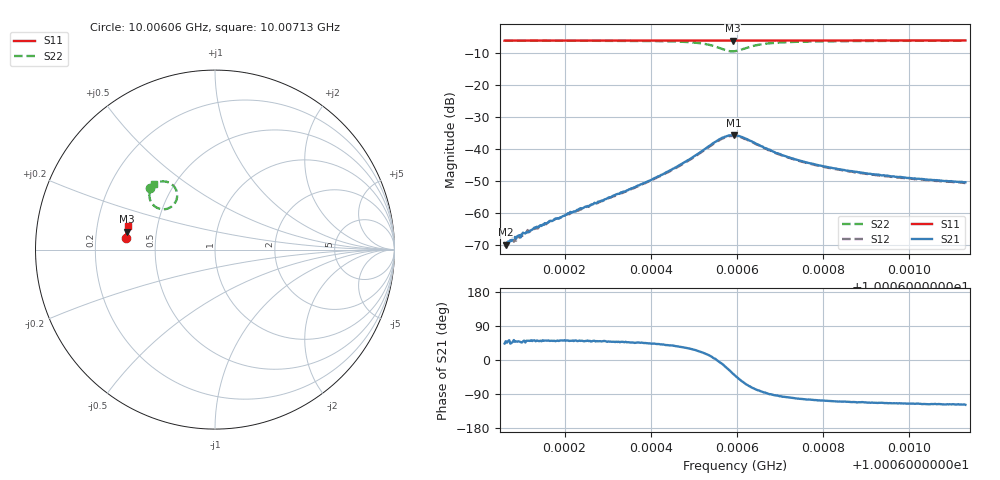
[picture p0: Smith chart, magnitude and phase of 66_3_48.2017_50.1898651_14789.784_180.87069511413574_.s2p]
#  HZ  S  RI  R  50.00
! Rohde & Schwarz Vector Network Analyzer
! Rohde-Schwarz,ZNB20-2Port,1311601062101988,3.16
! Created: UTC 3/20/2024, 11:38:59 AM
! freq[Hz]  re:S11  im:S11  re:S21  im:S21  re:S12  im:S12  re:S22  im:S22
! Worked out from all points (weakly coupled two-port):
!   401 points, 10.00606 GHz to 10.00713 GHz, reference 50 ohm
!   highest |S21| = -35.59 dB at 10.00659 GHz (marker M1); lowest = -69.9 dB at 10.00606 GHz (marker M2)
!   lowest |S11| = -6.0 dB at 10.00659 GHz (marker M3), VSWR 3.01, Z = 16.8 + j4.47 ohm
!   |S11| at or under -10 dB: nowhere
!   |S22| runs from -9.4 to -6.0 dB; largest |S21 - S12| = 0.0011
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1.0006061e10  -0.4973 0.0663  0.000245 0.000232  0.000222 0.000217  -0.3633 0.342
1.0006063e10  -0.4973 0.0665  0.000208 0.000245  0.000196 0.000234  -0.363 0.3421
1.0006085e10  -0.4971 0.0679  0.000286 0.000316  0.000219 0.000322  -0.3615 0.3437
1.0006117e10  -0.4969 0.07  0.000324 0.000398  0.000297 0.000407  -0.3593 0.346
1.0006133e10  -0.4968 0.0711  0.000384 0.000449  0.000324 0.000475  -0.3581 0.3473
1.000624e10  -0.4958 0.078  0.000747 0.000925  0.000703 0.000933  -0.3489 0.3559
1.0006344e10  -0.495 0.0849  0.00156 0.00165  0.00142 0.00171  -0.3354 0.3662
1.0006419e10  -0.4941 0.0897  0.00282 0.00255  0.00268 0.00262  -0.3176 0.375
1.0006465e10  -0.4935 0.0928  0.00449 0.0032  0.00423 0.0033  -0.2987 0.3796
1.0006527e10  -0.4922 0.0969  0.00966 0.00301  0.00926 0.00336  -0.2475 0.3685
1.0006561e10  -0.4915 0.0987  0.0144 -0.00154  0.014 -0.00065  -0.2119 0.3172
1.0006577e10  -0.4911 0.0993  0.015 -0.00586  0.0149 -0.00487  -0.2152 0.2757
1.0006591e10  -0.4909 0.0997  0.0135 -0.00965  0.0136 -0.00858  -0.2364 0.2443
1.0006593e10  -0.491 0.0999  0.013 -0.0103  0.0132 -0.00936  -0.2422 0.2396
1.0006596e10  -0.4909 0.0999  0.0124 -0.0108  0.0127 -0.00981  -0.2486 0.2355
1.0006618e10  -0.4913 0.101  0.00741 -0.0131  0.00789 -0.0122  -0.3007 0.2257
1.0006658e10  -0.4914 0.1035  0.00134 -0.011  0.0018 -0.0109  -0.353 0.2601
1.0006711e10  -0.491 0.1073  -0.00101 -0.00782  -0.000595 -0.00775  -0.3655 0.2986
1.0006776e10  -0.4905 0.1116  -0.00154 -0.00574  -0.00125 -0.00566  -0.363 0.3231
1.0006859e10  -0.4894 0.1168  -0.0016 -0.00436  -0.00137 -0.00434  -0.3565 0.3402
1.0006955e10  -0.4882 0.123  -0.00154 -0.0035  -0.00136 -0.0035  -0.3494 0.3524
1.0007132e10  -0.4856 0.1343  -0.00144 -0.00269  -0.00128 -0.00269  -0.3381 0.3673
